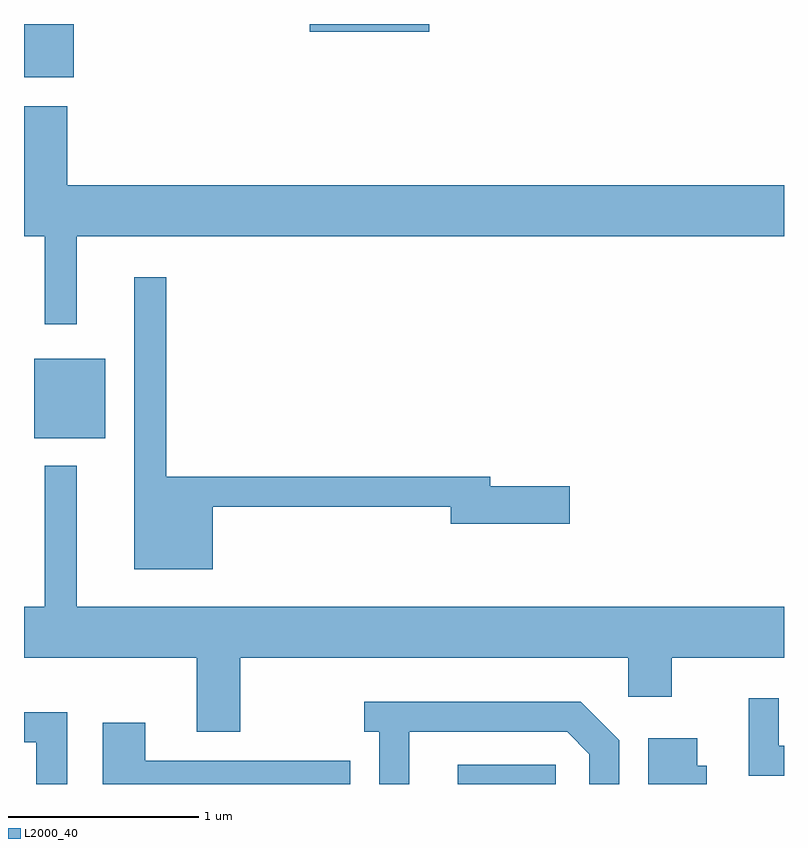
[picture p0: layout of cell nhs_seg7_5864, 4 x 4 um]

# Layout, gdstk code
import gdstk
lib = gdstk.Library(unit=1e-6, precision=1e-09)
def R(c, l, rs):  # rectangles x0, y0, x1, y1
    for r in rs: c.add(gdstk.rectangle(r[:2], r[2:], *l))
def P(c, l, *ps):  # polygons
    for p in ps: c.add(gdstk.Polygon(p, *l))
L2000_40 = (2000, 40)

nhs_seg7_5864 = lib.new_cell('nhs_seg7_5864')
R(nhs_seg7_5864, L2000_40, [(365.893,1780.252,366.409,1780.354), (363.666,1782.071,364.039,1782.489), (363.611,1783.971,363.874,1784.252), (365.116,1784.211,365.744,1784.252)])
P(nhs_seg7_5864, L2000_40, [(363.889,1783.136),(367.611,1783.136),(367.611,1783.404),(363.839,1783.404),(363.839,1783.819),(363.611,1783.819),(363.611,1783.136),(363.721,1783.136),(363.721,1782.673),(363.889,1782.673)],
  [(364.604,1781.711),(365.856,1781.711),(365.856,1781.621),(366.484,1781.621),(366.484,1781.819),(366.064,1781.819),(366.064,1781.869),(364.359,1781.869),(364.359,1782.918),(364.191,1782.918),(364.191,1781.381),(364.604,1781.381)],
  [(363.889,1781.928),(363.721,1781.928),(363.721,1781.184),(363.611,1781.184),(363.611,1780.916),(364.521,1780.916),(364.521,1780.526),(364.749,1780.526),(364.749,1780.916),(366.791,1780.916),(366.791,1780.711),(367.019,1780.711),(367.019,1780.916),(367.611,1780.916),(367.611,1781.184),(363.889,1781.184)],
  [(367.611,1780.454),(367.584,1780.454),(367.584,1780.703),(367.426,1780.703),(367.426,1780.296),(367.611,1780.296)],
  [(365.639,1780.526),(366.469,1780.526),(366.586,1780.409),(366.586,1780.252),(366.744,1780.252),(366.744,1780.482),(366.542,1780.684),(365.403,1780.684),(365.403,1780.526),(365.481,1780.526),(365.481,1780.252),(365.639,1780.252)],
  [(363.839,1780.629),(363.611,1780.629),(363.611,1780.471),(363.676,1780.471),(363.676,1780.252),(363.839,1780.252)],
  [(365.329,1780.374),(364.249,1780.374),(364.249,1780.574),(364.026,1780.574),(364.026,1780.252),(365.329,1780.252)],
  [(367.204,1780.349),(367.154,1780.349),(367.154,1780.494),(366.896,1780.494),(366.896,1780.252),(367.204,1780.252)])

lib.write_gds('nhs_seg7_5864.gds')
